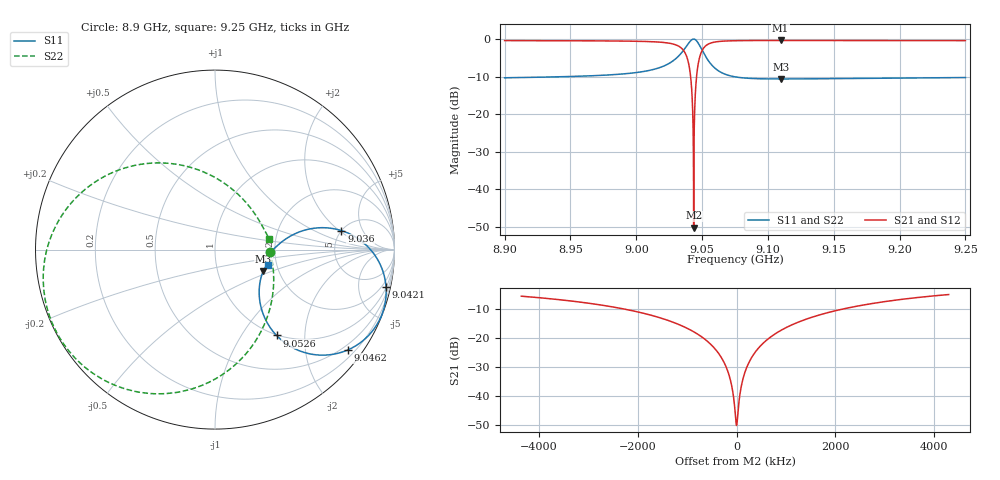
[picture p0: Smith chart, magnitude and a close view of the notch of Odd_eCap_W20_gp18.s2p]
! Sonnet Data File
! From: emgraph Version : 16.52
! From Emgraph Data: Resonator2_extremeCap
! Data File Written: 10/11/2017 20:21:07
!< HDATE 10/11/2017 18:29:07
!< MDATE 10/11/2017 18:29:07
!< PARAMS
!< Pwid1 = 2000.0
!< Width = 20.0
!< Gap = 18.0
!< END PARAMS
# GHZ S MA R 40.13000
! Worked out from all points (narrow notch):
!   2342 points, 8.9 GHz to 9.25 GHz, reference 40.13 ohm
!   highest |S21| = -0.39 dB at 9.1096 GHz (marker M1); lowest = -50.2 dB at 9.0436 GHz (marker M2)
!   notch at M2: 49.7 dB deep, 731 kHz wide at half that depth
!   lowest |S11| = -10.6 dB at 9.1098 GHz (marker M3), VSWR 1.83, Z = 66.8 - j17.5 ohm
!   |S11| at or under -10 dB: start of sweep to 8.9468 GHz; 9.0741 GHz to end of sweep
!   |S22| runs from -10.6 to 0.0 dB; largest |S21 - S12| = 0
!   S11 on the Smith chart (normalised r, x): 8.9 GHz: 1.88, -0.06; 9.036 GHz: 4.99, +2.14; 9.0421 GHz: 1.02, -9.05; 9.0462 GHz: 0.37, -2.95; 9.0526 GHz: 0.99, -1.45; 9.25 GHz: 1.79, -0.35
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8.9  0.305 -2.8  0.9523 -92.6  0.9523 -92.6  0.305 -2.5
!< P1 F=8.9 Eeff=(5.24798951 -2.3049e-5) Z0=(40.1339254 8.93825e-5) R=0.0 C=0.0
!< P2 F=8.9 Eeff=(5.24798951 -2.3049e-5) Z0=(40.1339254 8.93825e-5) R=0.0 C=0.0
8.9584  0.3207 -0.4  0.9472 -95.1  0.9472 -95.1  0.3207 -9.7
9.0168  0.4111 9.3  0.9115 -104.7  0.9115 -104.7  0.4108 -38.7
9.035997  0.7118 8.6  0.7012 -129.8  0.7012 -129.8  0.7107 -88.5
9.039988  0.89 -1.9  0.4525 -148.6  0.4525 -148.6  0.8885 -115.9
9.042148  0.9761 -12.4  0.2076 -163.8  0.2076 -163.8  0.9743 -136.8
9.043198  0.9959 -18.7  0.06053 -170.6  0.06053 -170.6  0.994 -148.3
9.043467  0.9975 -20.4  0.0212 -167.5  0.0212 -167.5  0.9956 -151.4
9.04361  0.9977 -21.3  0.003099 -84.2  0.003099 -84.2  0.9958 -153.0
9.043701  0.9976 -21.9  0.01415 -10.6  0.01415 -10.6  0.9957 -154.1
9.043805  0.9973 -22.6  0.02942 -5.0  0.02942 -5.0  0.9954 -155.3
9.044201  0.9938 -25.1  0.08826 -4.5  0.08826 -4.5  0.9919 -159.8
9.0462  0.9279 -37.0  0.3671 -20.2  0.3671 -20.2  0.9261 177.5
9.0488  0.779 -48.0  0.6246 -38.2  0.6246 -38.2  0.7774 152.1
9.0526  0.5883 -54.4  0.8076 -55.0  0.8076 -55.0  0.5872 124.7
9.0608  0.3956 -50.3  0.9181 -71.1  0.9181 -71.1  0.395 88.2
9.075  0.314 -37.4  0.9493 -80.5  0.9493 -80.5  0.3138 56.4
9.1096  0.2942 -24.1  0.9557 -87.1  0.9557 -87.1  0.2941 29.9
9.1098  0.2942 -24.0  0.9557 -87.1  0.9557 -87.1  0.2941 29.8
9.1334  0.2956 -20.8  0.9553 -88.9  0.9553 -88.9  0.2956 23.0
9.1918  0.3017 -17.6  0.9534 -91.2  0.9534 -91.2  0.3017 15.2
9.25  0.3073 -16.7  0.9516 -92.6  0.9516 -92.6  0.3073 11.5
